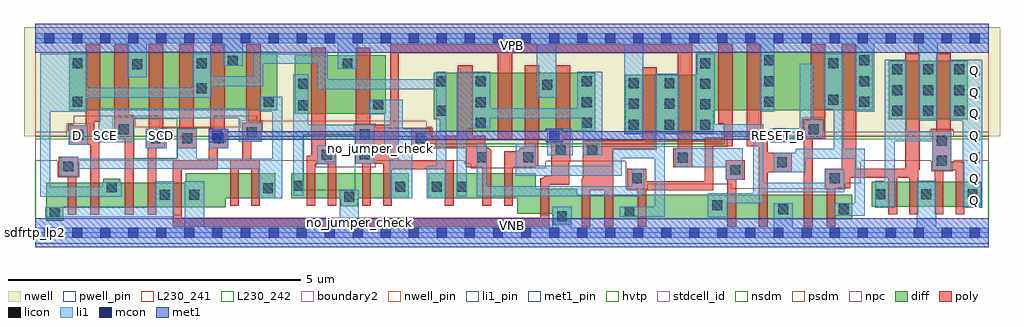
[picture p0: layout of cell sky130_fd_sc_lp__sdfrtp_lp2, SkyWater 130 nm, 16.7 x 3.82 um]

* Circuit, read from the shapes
.subckt sky130_fd_sc_lp__sdfrtp_lp2 CLK D Q RESET_B SCD SCE VGND VNB VPB VPWR
XM1 n1 n2 n3 VNB sky130_fd_pr__nfet_01v8 w=0.42 l=0.15
XM2 n4 D n1 VNB sky130_fd_pr__nfet_01v8 w=0.42 l=0.15
XM3 n5 SCE n4 VNB sky130_fd_pr__nfet_01v8 w=0.42 l=0.15
XM4 n3 SCD n5 VNB sky130_fd_pr__nfet_01v8 w=0.42 l=0.15
XM5 VGND RESET_B n3 VNB sky130_fd_pr__nfet_01v8 w=0.42 l=0.15
XM6 n6 SCE VGND VNB sky130_fd_pr__nfet_01v8 w=0.42 l=0.15
XM7 n2 SCE n6 VNB sky130_fd_pr__nfet_01v8 w=0.42 l=0.15
XM8 n7 CLK n8 VNB sky130_fd_pr__nfet_01v8 w=0.42 l=0.15
XM9 VGND CLK n7 VNB sky130_fd_pr__nfet_01v8 w=0.42 l=0.15
XM10 n9 n8 VGND VNB sky130_fd_pr__nfet_01v8 w=0.42 l=0.15
XM11 n10 n8 n9 VNB sky130_fd_pr__nfet_01v8 w=0.42 l=0.15
XM12 n11 n8 n4 VNB sky130_fd_pr__nfet_01v8 w=0.42 l=0.15
XM13 n12 n10 n11 VNB sky130_fd_pr__nfet_01v8 w=0.42 l=0.15
XM14 n13 n14 n12 VNB sky130_fd_pr__nfet_01v8 w=0.42 l=0.15
XM15 VGND RESET_B n13 VNB sky130_fd_pr__nfet_01v8 w=0.42 l=0.15
XM16 n15 n11 VGND VNB sky130_fd_pr__nfet_01v8 w=0.42 l=0.15
XM17 n14 n11 n15 VNB sky130_fd_pr__nfet_01v8 w=0.42 l=0.15
XM18 n16 n10 n14 VNB sky130_fd_pr__nfet_01v8 w=0.42 l=0.15
XM19 n17 n8 n16 VNB sky130_fd_pr__nfet_01v8 w=0.42 l=0.15
XM20 VGND n18 n17 VNB sky130_fd_pr__nfet_01v8 w=0.42 l=0.15
XM21 n19 RESET_B VGND VNB sky130_fd_pr__nfet_01v8 w=0.42 l=0.15
XM22 n18 n16 n19 VNB sky130_fd_pr__nfet_01v8 w=0.42 l=0.15
XM23 n20 n16 n21 VNB sky130_fd_pr__nfet_01v8 w=0.42 l=0.15
XM24 VGND n16 n20 VNB sky130_fd_pr__nfet_01v8 w=0.42 l=0.15
XM25 n22 n21 VGND VNB sky130_fd_pr__nfet_01v8 w=0.42 l=0.15
XM26 Q n21 n22 VNB sky130_fd_pr__nfet_01v8 w=0.42 l=0.15
XM27 n23 D n4 VPB sky130_fd_pr__pfet_01v8_hvt w=1 l=0.25
XM28 VPWR SCE n23 VPB sky130_fd_pr__pfet_01v8_hvt w=1 l=0.25
XM29 n24 SCD VPWR VPB sky130_fd_pr__pfet_01v8_hvt w=1 l=0.25
XM30 n4 n2 n24 VPB sky130_fd_pr__pfet_01v8_hvt w=1 l=0.25
XM31 VPWR RESET_B n4 VPB sky130_fd_pr__pfet_01v8_hvt w=1 l=0.25
XM32 n2 SCE VPWR VPB sky130_fd_pr__pfet_01v8_hvt w=1 l=0.25
XM33 VPWR CLK n8 VPB sky130_fd_pr__pfet_01v8_hvt w=1 l=0.25
XM34 n10 n8 VPWR VPB sky130_fd_pr__pfet_01v8_hvt w=1 l=0.25
XM35 n11 n10 n4 VPB sky130_fd_pr__pfet_01v8_hvt w=1 l=0.25
XM36 n25 n8 n11 VPB sky130_fd_pr__pfet_01v8_hvt w=1 l=0.25
XM37 VPWR n14 n25 VPB sky130_fd_pr__pfet_01v8_hvt w=1 l=0.25
XM38 n11 RESET_B VPWR VPB sky130_fd_pr__pfet_01v8_hvt w=1 l=0.25
XM39 n14 n11 VPWR VPB sky130_fd_pr__pfet_01v8_hvt w=1 l=0.25
XM40 n16 n8 n14 VPB sky130_fd_pr__pfet_01v8_hvt w=1 l=0.25
XM41 n26 n10 n16 VPB sky130_fd_pr__pfet_01v8_hvt w=1 l=0.25
XM42 VPWR n18 n26 VPB sky130_fd_pr__pfet_01v8_hvt w=1 l=0.25
XM43 n18 RESET_B VPWR VPB sky130_fd_pr__pfet_01v8_hvt w=1 l=0.25
XM44 VPWR n16 n18 VPB sky130_fd_pr__pfet_01v8_hvt w=1 l=0.25
XM45 VPWR n16 n21 VPB sky130_fd_pr__pfet_01v8_hvt w=1 l=0.25
XM46 Q n21 VPWR VPB sky130_fd_pr__pfet_01v8_hvt w=1 l=0.25
.ends

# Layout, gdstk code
import gdstk
lib = gdstk.Library(unit=1e-6, precision=1e-09)
def R(c, l, rs):  # rectangles x0, y0, x1, y1
    for r in rs: c.add(gdstk.rectangle(r[:2], r[2:], *l))
def A(c, l, x, y, w, h, nx, ny, dx, dy):  # array of equal rectangles
    R(c, l, [(x+i*dx, y+j*dy, x+i*dx+w, y+j*dy+h) for i in range(nx) for j in range(ny)])
def P(c, l, *ps):  # polygons
    for p in ps: c.add(gdstk.Polygon(p, *l))
nwell_pin = (64, 16)
nwell = (64, 20)
diff = (65, 20)
poly = (66, 20)
licon = (66, 44)
li1_pin = (67, 16)
li1 = (67, 20)
mcon = (67, 44)
met1_pin = (68, 16)
met1 = (68, 20)
hvtp = (78, 44)
stdcell_id = (81, 4)
nsdm = (93, 44)
psdm = (94, 20)
npc = (95, 20)
pwell_pin = (122, 16)
L230_241 = (230, 241)
L230_242 = (230, 242)
boundary2 = (236, 0)

sky130_fd_sc_lp__sdfrtp_ = lib.new_cell('sky130_fd_sc_lp__sdfrtp_lp2')
R(sky130_fd_sc_lp__sdfrtp_, nwell_pin, [(0,3.085,16.32,3.33)])
P(sky130_fd_sc_lp__sdfrtp_, nwell, [(16.51,3.52),(-0.19,3.52),(-0.19,1.655),(6.705,1.655),(6.705,1.525),(11.79,1.525),(11.79,1.655),(16.51,1.655)])
R(sky130_fd_sc_lp__sdfrtp_, diff, [(14.315,0.45,16.185,0.87), (14.605,1.94,15.955,2.94), (4.44,2.04,6,3.04), (0.58,2.095,4.145,3.095)])
P(sky130_fd_sc_lp__sdfrtp_, diff, [(4.11,1.015),(2.58,1.015),(2.58,0.86),(1.46,0.86),(1.46,0.925),(1.17,0.925),(1.17,0.86),(0.19,0.86),(0.19,0.205),(0.48,0.205),(0.48,0.44),(3.26,0.44),(3.26,0.595),(4.11,0.595)],
  [(6.39,1.015),(4.38,1.015),(4.38,0.595),(5.23,0.595),(5.23,0.455),(5.52,0.455),(5.52,0.595),(6.39,0.595)],
  [(9.585,2.735),(6.825,2.735),(6.825,1.94),(6.925,1.94),(6.925,1.735),(9.585,1.735)],
  [(13.98,0.655),(9.275,0.655),(9.275,0.75),(8.57,0.75),(8.57,1.015),(6.725,1.015),(6.725,0.595),(8.25,0.595),(8.25,0.33),(8.87,0.33),(8.87,0.135),(9.16,0.135),(9.16,0.235),(13.98,0.235)],
  [(14.335,3.095),(11.32,3.095),(11.32,2.705),(10.1,2.705),(10.1,1.705),(11.61,1.705),(11.61,2.095),(14.335,2.095)])
P(sky130_fd_sc_lp__sdfrtp_, poly, [(0.735,1.3),(0.405,1.3),(0.405,0.97),(0.555,0.97),(0.555,0.31),(0.705,0.31),(0.705,0.97),(0.735,0.97)],
  [(1.115,3.225),(0.865,3.225),(0.865,1.84),(0.575,1.84),(0.575,1.51),(0.945,1.51),(0.945,0.31),(1.095,0.31),(1.095,1.66),(1.015,1.66),(1.015,1.9),(1.115,1.9)],
  [(1.685,2.02),(1.605,2.02),(1.605,3.225),(1.355,3.225),(1.355,1.605),(1.535,1.605),(1.535,0.31),(1.685,0.31)],
  [(10.635,2.835),(10.385,2.835),(10.385,1.575),(9.37,1.575),(9.37,0.925),(9.35,0.925),(9.35,0.105),(9.5,0.105),(9.5,0.73),(9.74,0.73),(9.74,0.105),(9.89,0.105),(9.89,1.425),(10.635,1.425)],
  [(11.245,3.225),(6.075,3.225),(6.075,1.85),(5.735,1.85),(5.735,3.17),(5.485,3.17),(5.485,1.85),(5.475,1.85),(5.475,1.18),(5.595,1.18),(5.595,0.465),(5.745,0.465),(5.745,1.18),(5.955,1.18),(5.955,0.465),(6.105,0.465),(6.105,1.09),(7.01,1.09),(7.01,0.465),(7.16,0.465),(7.16,1.24),(6.225,1.24),(6.225,3.075),(7.915,3.075),(7.915,1.605),(8.165,1.605),(8.165,3.075),(10.995,3.075),(10.995,1.45),(10.915,1.45),(10.915,1.12),(11.245,1.12)],
  [(8.625,2.865),(8.375,2.865),(8.375,1.455),(8.315,1.455),(8.315,1.445),(8.305,1.445),(8.305,1.44),(8.3,1.44),(8.3,1.435),(8.295,1.435),(8.295,1.43),(8.29,1.43),(8.29,1.425),(8.285,1.425),(8.285,1.415),(8.275,1.415),(8.275,1.395),(8.025,1.395),(8.025,0.465),(8.175,0.465),(8.175,1.125),(8.555,1.125),(8.555,1.13),(8.565,1.13),(8.565,1.135),(8.58,1.135),(8.58,1.145),(8.605,1.145),(8.605,1.605),(8.625,1.605)],
  [(11.935,3.225),(11.685,3.225),(11.685,1.87),(11.785,1.87),(11.785,1.63),(11.455,1.63),(11.455,0.88),(10.46,0.88),(10.46,1.095),(10.13,1.095),(10.13,0.73),(10.31,0.73),(10.31,0.105),(10.46,0.105),(10.46,0.73),(11.605,0.73),(11.605,1.48),(11.935,1.48)],
  [(7.805,1.415),(7.795,1.415),(7.795,1.425),(7.79,1.425),(7.79,1.43),(7.785,1.43),(7.785,1.435),(7.78,1.435),(7.78,1.44),(7.775,1.44),(7.775,1.445),(7.765,1.445),(7.765,1.455),(7.705,1.455),(7.705,1.66),(7.485,1.66),(7.485,2.865),(7.235,2.865),(7.235,1.66),(6.765,1.66),(6.765,1.78),(6.435,1.78),(6.435,1.45),(7.37,1.45),(7.37,1.125),(7.655,1.125),(7.655,0.465),(7.805,0.465)],
  [(9.16,1.575),(9.155,1.575),(9.155,2.865),(8.905,2.865),(8.905,1.575),(8.85,1.575),(8.85,1.555),(8.83,1.555),(8.83,0.975),(8.74,0.975),(8.74,0.965),(8.72,0.965),(8.72,0.955),(8.705,0.955),(8.705,0.945),(8.685,0.945),(8.685,0.935),(8.645,0.935),(8.645,0.255),(2.505,0.255),(2.505,1.09),(3.125,1.09),(3.125,1.45),(3.305,1.45),(3.305,1.78),(3.245,1.78),(3.245,3.225),(2.995,3.225),(2.995,1.78),(2.975,1.78),(2.975,1.24),(2.355,1.24),(2.355,0.105),(8.795,0.105),(8.795,0.825),(9.14,0.825),(9.14,1.205),(9.16,1.205)],
  [(15.14,3.07),(14.89,3.07),(14.89,1.095),(14.05,1.095),(14.05,3.225),(13.8,3.225),(13.8,1.095),(13.515,1.095),(13.515,0.765),(13.545,0.765),(13.545,0.105),(13.695,0.105),(13.695,0.765),(13.95,0.765),(13.95,0.945),(14.6,0.945),(14.6,0.32),(14.75,0.32),(14.75,0.945),(14.96,0.945),(14.96,0.32),(15.11,0.32),(15.11,1.08),(15.14,1.08)],
  [(13.52,3.225),(13.27,3.225),(13.27,1.935),(13.155,1.935),(13.155,0.105),(13.305,0.105),(13.305,1.605),(13.52,1.605)],
  [(12.945,1.37),(12.535,1.37),(12.535,1.63),(12.425,1.63),(12.425,3.225),(12.175,3.225),(12.175,1.48),(12.385,1.48),(12.385,0.105),(12.535,0.105),(12.535,1.04),(12.945,1.04)],
  [(12.145,1.24),(11.815,1.24),(11.815,0.91),(11.845,0.91),(11.845,0.105),(11.995,0.105),(11.995,0.91),(12.145,0.91)],
  [(15.9,1.22),(15.68,1.22),(15.68,1.74),(15.67,1.74),(15.67,3.07),(15.42,3.07),(15.42,1.74),(15.35,1.74),(15.35,1.07),(15.39,1.07),(15.39,0.32),(15.54,0.32),(15.54,1.07),(15.75,1.07),(15.75,0.32),(15.9,0.32)],
  [(2.225,1.78),(2.195,1.78),(2.195,3.225),(1.945,3.225),(1.945,1.78),(1.895,1.78),(1.895,1.45),(1.925,1.45),(1.925,0.31),(2.075,0.31),(2.075,1.45),(2.225,1.45)],
  [(2.765,1.78),(2.715,1.78),(2.715,3.225),(2.465,3.225),(2.465,1.78),(2.435,1.78),(2.435,1.45),(2.765,1.45)],
  [(3.875,1.885),(3.86,1.885),(3.86,3.225),(3.61,3.225),(3.61,1.885),(3.545,1.885),(3.545,1.24),(3.335,1.24),(3.335,0.465),(3.485,0.465),(3.485,1.09),(3.695,1.09),(3.695,0.465),(3.845,0.465),(3.845,1.24),(3.695,1.24),(3.695,1.555),(3.875,1.555)],
  [(5.155,1.5),(4.975,1.5),(4.975,3.17),(4.725,3.17),(4.725,1.32),(4.645,1.32),(4.645,0.465),(4.795,0.465),(4.795,1.17),(5.005,1.17),(5.005,0.465),(5.155,0.465)])
A(sky130_fd_sc_lp__sdfrtp_, licon, 14.375, 0.575, 0.17, 0.17, 3, 1, 0.79, 0)
A(sky130_fd_sc_lp__sdfrtp_, licon, 1.975, 1.53, 0.17, 0.17, 3, 1, 0.54, 0)
A(sky130_fd_sc_lp__sdfrtp_, licon, 10.16, 1.765, 0.17, 0.17, 3, 1, 0.61, 0)
A(sky130_fd_sc_lp__sdfrtp_, licon, 7.54, 1.795, 0.17, 0.17, 1, 3, 0, 0.355)
A(sky130_fd_sc_lp__sdfrtp_, licon, 9.355, 1.795, 0.17, 0.17, 1, 3, 0, 0.355)
A(sky130_fd_sc_lp__sdfrtp_, licon, 14.665, 2, 0.17, 0.17, 3, 3, 0.53, 0.355)
A(sky130_fd_sc_lp__sdfrtp_, licon, 11.38, 2.115, 0.17, 0.17, 1, 3, 0, 0.35)
A(sky130_fd_sc_lp__sdfrtp_, licon, 12.48, 2.155, 0.17, 0.17, 1, 3, 0, 0.355)
A(sky130_fd_sc_lp__sdfrtp_, licon, 14.105, 2.155, 0.17, 0.17, 1, 3, 0, 0.355)
R(sky130_fd_sc_lp__sdfrtp_, licon, [(8.93,0.195,9.1,0.365), (0.25,0.265,0.42,0.435), (10.085,0.275,10.255,0.445), (12.715,0.315,12.885,0.485), (13.75,0.315,13.92,0.485), (11.59,0.385,11.76,0.555), (5.29,0.535,5.46,0.705), (2.13,0.565,2.3,0.735), (2.64,0.565,2.81,0.735), (3.9,0.675,4.07,0.845), (1.23,0.695,1.4,0.865), (6.16,0.705,6.33,0.875), (6.785,0.705,6.955,0.875), (7.215,0.705,7.385,0.875), (4.42,0.72,4.59,0.89), (10.21,0.845,10.38,1.015), (13.595,0.845,13.765,1.015), (11.895,0.99,12.065,1.16), (0.485,1.05,0.655,1.22), (12.695,1.12,12.865,1.29), (15.43,1.15,15.6,1.32), (10.995,1.2,11.165,1.37), (7.555,1.205,7.725,1.375), (8.355,1.205,8.525,1.375), (4.905,1.25,5.075,1.42), (5.555,1.26,5.725,1.43), (8.91,1.325,9.08,1.495), (9.45,1.325,9.62,1.495), (15.43,1.49,15.6,1.66), (6.515,1.53,6.685,1.7), (0.655,1.59,0.825,1.76), (5.555,1.6,5.725,1.77), (3.625,1.635,3.795,1.805), (1.435,1.685,1.605,1.855), (13.235,1.685,13.405,1.855), (6.865,2,7.035,2.17), (4.5,2.1,4.67,2.27), (5.79,2.11,5.96,2.28), (10.16,2.12,10.33,2.29), (10.77,2.12,10.94,2.29), (0.64,2.155,0.81,2.325), (3.915,2.155,4.085,2.325), (13.575,2.195,13.745,2.365), (2.77,2.39,2.94,2.56), (8.68,2.445,8.85,2.615), (4.5,2.465,4.67,2.635), (10.16,2.475,10.33,2.645), (10.77,2.475,10.94,2.645), (6.865,2.505,7.035,2.675), (1.66,2.8,1.83,2.97), (5.26,2.81,5.43,2.98), (0.64,2.815,0.81,2.985), (2.77,2.815,2.94,2.985), (13.575,2.815,13.745,2.985), (3.3,2.86,3.47,3.03)])
A(sky130_fd_sc_lp__sdfrtp_, li1_pin, 15.995, 0.47, 0.17, 0.17, 1, 7, 0, 0.37)
R(sky130_fd_sc_lp__sdfrtp_, li1_pin, [(4.955,1.21,5.125,1.38), (0.635,1.58,0.805,1.75), (1.115,1.58,1.285,1.75), (2.075,1.58,2.245,1.75)])
R(sky130_fd_sc_lp__sdfrtp_, li1, [(4.825,1.17,5.155,1.5), (1.895,1.45,2.255,1.78), (2.975,1.45,3.305,1.78), (0.575,1.51,0.905,1.84)])
P(sky130_fd_sc_lp__sdfrtp_, li1, [(2.38,0.88),(2.05,0.88),(2.05,0.435),(0.5,0.435),(0.5,0.44),(0.17,0.44),(0.17,0.265),(2.38,0.265)],
  [(3.875,1.885),(3.655,1.885),(3.655,2.13),(1.085,2.13),(1.085,1.55),(1.685,1.55),(1.685,1.96),(3.485,1.96),(3.485,1.555),(3.875,1.555)],
  [(4.225,2.325),(3.835,2.325),(3.835,2.075),(4.055,2.075),(4.055,1.27),(2.765,1.27),(2.765,1.78),(2.435,1.78),(2.435,1.27),(0.735,1.27),(0.735,1.3),(0.44,1.3),(0.44,0.97),(0.735,0.97),(0.735,1.1),(3.82,1.1),(3.82,0.595),(4.225,0.595)],
  [(5.805,1.85),(4.67,1.85),(4.67,2.715),(4.42,2.715),(4.42,0.635),(4.59,0.635),(4.59,1.68),(5.475,1.68),(5.475,1.18),(5.805,1.18)],
  [(6.685,1.78),(6.29,1.78),(6.29,2.28),(5.71,2.28),(5.71,2.03),(5.975,2.03),(5.975,1.45),(6.07,1.45),(6.07,0.595),(6.455,0.595),(6.455,1.45),(6.685,1.45)],
  [(7.035,2.755),(6.865,2.755),(6.865,2.63),(5.01,2.63),(5.01,3.065),(3.73,3.065),(3.73,2.675),(3.02,2.675),(3.02,3.065),(2.69,3.065),(2.69,2.48),(0.89,2.48),(0.89,3.065),(0.09,3.065),(0.09,0.62),(1.15,0.62),(1.15,0.615),(1.48,0.615),(1.48,0.865),(1.15,0.865),(1.15,0.79),(0.26,0.79),(0.26,2.075),(0.89,2.075),(0.89,2.31),(3.02,2.31),(3.02,2.505),(3.9,2.505),(3.9,2.895),(4.84,2.895),(4.84,2.46),(6.865,2.46),(6.865,1.145),(6.705,1.145),(6.705,0.595),(7.035,0.595)],
  [(15.68,1.74),(14.915,1.74),(14.915,2.96),(14.535,2.96),(14.535,0.89),(14.375,0.89),(14.375,0.43),(14.705,0.43),(14.705,1.57),(15.35,1.57),(15.35,1.07),(15.68,1.07)],
  [(16.205,2.96),(15.645,2.96),(15.645,1.92),(15.875,1.92),(15.875,0.43),(16.205,0.43)],
  [(16.32,0.085),(15.415,0.085),(15.415,0.89),(15.085,0.89),(15.085,0.085),(12.965,0.085),(12.965,0.51),(12.635,0.51),(12.635,0.085),(9.18,0.085),(9.18,0.445),(8.85,0.445),(8.85,0.085),(5.54,0.085),(5.54,0.725),(5.21,0.725),(5.21,0.085),(2.89,0.085),(2.89,0.88),(2.56,0.88),(2.56,0.085),(0,0.085),(0,-0.085),(16.32,-0.085)],
  [(16.32,3.415),(0,3.415),(0,3.245),(1.58,3.245),(1.58,2.66),(1.91,2.66),(1.91,3.245),(3.22,3.245),(3.22,2.855),(3.55,2.855),(3.55,3.245),(5.18,3.245),(5.18,2.81),(5.51,2.81),(5.51,3.245),(8.585,3.245),(8.585,2.31),(8.915,2.31),(8.915,3.245),(10.08,3.245),(10.08,1.685),(10.41,1.685),(10.41,3.245),(12.4,3.245),(12.4,2.075),(12.65,2.075),(12.65,3.245),(14.025,3.245),(14.025,2.075),(14.355,2.075),(14.355,3.245),(15.115,3.245),(15.115,1.92),(15.445,1.92),(15.445,3.245),(16.32,3.245)],
  [(9.2,1.645),(9.185,1.645),(9.185,1.78),(8.765,1.78),(8.765,1.325),(9.2,1.325)],
  [(9.7,2.755),(9.275,2.755),(9.275,2.13),(7.79,2.13),(7.79,2.755),(7.215,2.755),(7.215,0.625),(7.385,0.625),(7.385,1.79),(7.79,1.79),(7.79,1.96),(9.355,1.96),(9.355,1.715),(9.37,1.715),(9.37,1.325),(9.7,1.325)],
  [(10.425,1.095),(10.21,1.095),(10.21,0.795),(7.725,0.795),(7.725,1.525),(7.555,1.525),(7.555,0.625),(10.425,0.625)],
  [(11.02,2.725),(10.605,2.725),(10.605,1.445),(9.87,1.445),(9.87,1.145),(8.555,1.145),(8.555,1.525),(8.225,1.525),(8.225,0.975),(10.04,0.975),(10.04,1.275),(10.605,1.275),(10.605,0.445),(10.005,0.445),(10.005,0.275),(10.775,0.275),(10.775,1.685),(11.02,1.685)],
  [(12.105,1.45),(10.955,1.45),(10.955,1.12),(11.815,1.12),(11.815,0.91),(12.105,0.91)],
  [(13.485,1.935),(13.315,1.935),(13.315,2.89),(13.085,2.89),(13.085,1.785),(12.635,1.785),(12.635,1.55),(12.835,1.55),(12.835,1.615),(13.485,1.615)],
  [(13.845,1.085),(13.515,1.085),(13.515,0.86),(12.455,0.86),(12.455,1.855),(11.63,1.855),(11.63,3.065),(11.3,3.065),(11.3,1.685),(12.285,1.685),(12.285,0.675),(11.51,0.675),(11.51,0.265),(11.84,0.265),(11.84,0.505),(12.455,0.505),(12.455,0.69),(13.845,0.69)],
  [(14.195,1.435),(13.835,1.435),(13.835,3.065),(13.495,3.065),(13.495,2.115),(13.665,2.115),(13.665,1.435),(13.015,1.435),(13.015,1.37),(12.635,1.37),(12.635,1.04),(13.185,1.04),(13.185,1.265),(14.025,1.265),(14.025,0.51),(13.67,0.51),(13.67,0.295),(14.195,0.295)])
A(sky130_fd_sc_lp__sdfrtp_, mcon, 0.155, -0.085, 0.17, 0.17, 34, 2, 0.48, 3.33)
R(sky130_fd_sc_lp__sdfrtp_, mcon, [(3.035,1.58,3.205,1.75), (8.795,1.58,8.965,1.75), (12.635,1.58,12.805,1.75)])
R(sky130_fd_sc_lp__sdfrtp_, met1_pin, [(0,0,16.32,0.245), (12.635,1.58,12.805,1.75), (0,3.085,16.32,3.33)])
R(sky130_fd_sc_lp__sdfrtp_, met1, [(0,-0.245,16.32,0.245), (0,3.085,16.32,3.575)])
P(sky130_fd_sc_lp__sdfrtp_, met1, [(12.865,1.78),(12.575,1.78),(12.575,1.735),(9.025,1.735),(9.025,1.78),(8.735,1.78),(8.735,1.735),(3.265,1.735),(3.265,1.78),(2.975,1.78),(2.975,1.55),(3.265,1.55),(3.265,1.595),(8.735,1.595),(8.735,1.55),(9.025,1.55),(9.025,1.595),(12.575,1.595),(12.575,1.55),(12.865,1.55)])
P(sky130_fd_sc_lp__sdfrtp_, hvtp, [(16.32,3.33),(0,3.33),(0,1.6),(6.65,1.6),(6.65,1.47),(11.845,1.47),(11.845,1.6),(16.32,1.6)])
R(sky130_fd_sc_lp__sdfrtp_, stdcell_id, [(0,0,16.32,3.33)])
P(sky130_fd_sc_lp__sdfrtp_, nsdm, [(16.32,1.655),(11.79,1.655),(11.79,1.525),(6.705,1.525),(6.705,1.655),(0,1.655),(0,-0.19),(16.32,-0.19)])
P(sky130_fd_sc_lp__sdfrtp_, psdm, [(16.32,3.52),(0,3.52),(0,1.655),(0.545,1.655),(0.545,1.87),(0.935,1.87),(0.935,1.655),(1.325,1.655),(1.325,1.965),(1.715,1.965),(1.715,1.81),(3.515,1.81),(3.515,1.915),(3.905,1.915),(3.905,1.91),(6.695,1.91),(6.695,1.81),(6.795,1.81),(6.795,1.605),(9.89,1.605),(9.89,1.575),(11.79,1.575),(11.79,1.655),(13.125,1.655),(13.125,1.965),(13.515,1.965),(13.515,1.655),(15.32,1.655),(15.32,1.77),(15.71,1.77),(15.71,1.655),(16.32,1.655)])
P(sky130_fd_sc_lp__sdfrtp_, npc, [(16.32,1.73),(15.7,1.73),(15.7,1.76),(15.33,1.76),(15.33,1.73),(13.505,1.73),(13.505,1.955),(13.135,1.955),(13.135,1.73),(11.75,1.73),(11.75,1.565),(10.425,1.565),(10.425,1.595),(6.785,1.595),(6.785,1.8),(5.825,1.8),(5.825,1.87),(5.455,1.87),(5.455,1.73),(3.895,1.73),(3.895,1.905),(3.79,1.905),(3.79,2.005),(3.06,2.005),(3.06,1.8),(2.14,1.8),(2.14,2.005),(0.66,2.005),(0.66,1.86),(0.555,1.86),(0.555,1.73),(0,1.73),(0,1.23),(0.385,1.23),(0.385,0.95),(0.755,0.95),(0.755,1.23),(4.805,1.23),(4.805,1.12),(5.825,1.12),(5.825,1.23),(7.35,1.23),(7.35,1.185),(7.455,1.185),(7.455,1.105),(8.735,1.105),(8.735,1.225),(10.11,1.225),(10.11,0.745),(10.48,0.745),(10.48,0.835),(11.9,0.835),(11.9,0.755),(13.495,0.755),(13.495,0.745),(13.865,0.745),(13.865,0.85),(14.13,0.85),(14.13,1.23),(15.33,1.23),(15.33,1.05),(15.7,1.05),(15.7,1.23),(16.32,1.23)])
R(sky130_fd_sc_lp__sdfrtp_, pwell_pin, [(0,0,16.32,0.245)])
R(sky130_fd_sc_lp__sdfrtp_, L230_241, [(4.825,1.17,5.155,1.5), (1.895,1.45,2.255,1.78)])
R(sky130_fd_sc_lp__sdfrtp_, L230_242, [(4.59,0.725,5.475,1.68), (1.685,1.27,2.435,1.96)])
P(sky130_fd_sc_lp__sdfrtp_, L230_242, [(8.795,0.31),(8.645,0.31),(8.645,0.255),(2.505,0.255),(2.505,0.31),(2.355,0.31),(2.355,0.105),(8.795,0.105)])
R(sky130_fd_sc_lp__sdfrtp_, boundary2, [(0,0,16.32,3.33)])
sky130_fd_sc_lp__sdfrtp_.add(gdstk.Label('VNB', (8.16,0.123), layer=64, texttype=59))
sky130_fd_sc_lp__sdfrtp_.add(gdstk.Label('VPB', (8.16,3.208), layer=64, texttype=5))
sky130_fd_sc_lp__sdfrtp_.add(gdstk.Label('sdfrtp_lp2', (0,0), layer=83, texttype=44))
sky130_fd_sc_lp__sdfrtp_.add(gdstk.Label('no_jumper_check', (5.555,0.18), layer=83, texttype=44))
sky130_fd_sc_lp__sdfrtp_.add(gdstk.Label('no_jumper_check', (8.695,3.15), layer=83, texttype=44))
sky130_fd_sc_lp__sdfrtp_.add(gdstk.Label('no_jumper_check', (5.905,1.445), layer=83, texttype=44))
sky130_fd_sc_lp__sdfrtp_.add(gdstk.Label('no_jumper_check', (6.815,1.55), layer=83, texttype=44))
sky130_fd_sc_lp__sdfrtp_.add(gdstk.Label('RESET_B', (12.72,1.665), layer=68, texttype=5))
sky130_fd_sc_lp__sdfrtp_.add(gdstk.Label('VPWR', (8.16,3.208), layer=68, texttype=5))
sky130_fd_sc_lp__sdfrtp_.add(gdstk.Label('VGND', (8.16,0.123), layer=68, texttype=5))
sky130_fd_sc_lp__sdfrtp_.add(gdstk.Label('CLK', (5.04,1.295), layer=67, texttype=5))
sky130_fd_sc_lp__sdfrtp_.add(gdstk.Label('SCD', (2.16,1.665), layer=67, texttype=5))
sky130_fd_sc_lp__sdfrtp_.add(gdstk.Label('D', (0.72,1.665), layer=67, texttype=5))
sky130_fd_sc_lp__sdfrtp_.add(gdstk.Label('Q', (16.08,0.555), layer=67, texttype=5))
sky130_fd_sc_lp__sdfrtp_.add(gdstk.Label('Q', (16.08,0.925), layer=67, texttype=5))
sky130_fd_sc_lp__sdfrtp_.add(gdstk.Label('Q', (16.08,1.295), layer=67, texttype=5))
sky130_fd_sc_lp__sdfrtp_.add(gdstk.Label('Q', (16.08,1.665), layer=67, texttype=5))
sky130_fd_sc_lp__sdfrtp_.add(gdstk.Label('Q', (16.08,2.035), layer=67, texttype=5))
sky130_fd_sc_lp__sdfrtp_.add(gdstk.Label('Q', (16.08,2.405), layer=67, texttype=5))
sky130_fd_sc_lp__sdfrtp_.add(gdstk.Label('Q', (16.08,2.775), layer=67, texttype=5))
sky130_fd_sc_lp__sdfrtp_.add(gdstk.Label('SCE', (1.2,1.665), layer=67, texttype=5))

lib.write_gds('sky130_fd_sc_lp__sdfrtp_lp2.gds')
